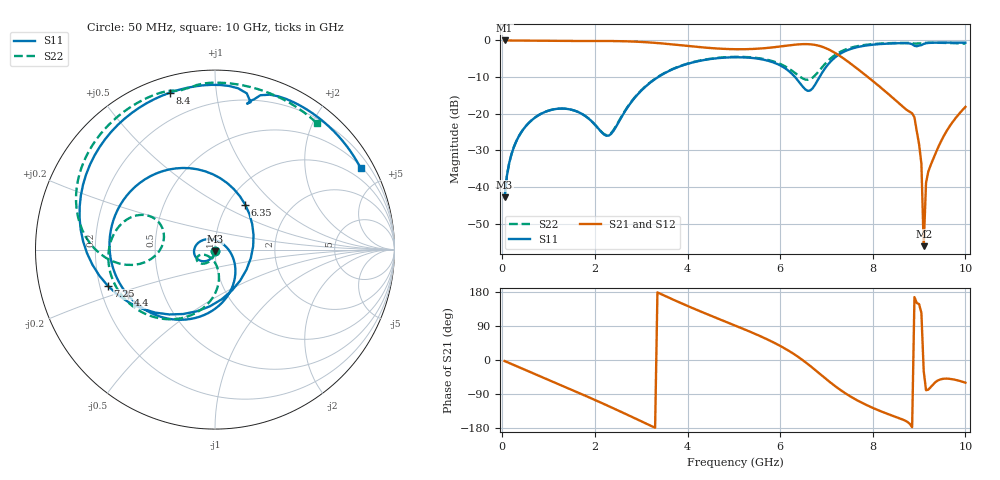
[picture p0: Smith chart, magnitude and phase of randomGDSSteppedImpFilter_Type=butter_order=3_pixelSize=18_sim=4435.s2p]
! freq	dB(S11)	phase(S11)	dB(S12)	phase(S12)
!  dB(S21)	phase(S21)	dB(S22)	phase(S22)
!S-par simulation data
#  GHz  S  DB  R 50
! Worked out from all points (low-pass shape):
!   200 points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, 50 MHz to 10 GHz, reference 50 ohm
!   highest |S21| = -0.01 dB at 50 MHz (marker M1); lowest = -56.1 dB at 9.1 GHz (marker M2)
!   |S21| within 3 dB of the highest: start of sweep to 7.131 GHz
!   lowest |S11| = -42.8 dB at 50 MHz (marker M3), VSWR 1.01, Z = 50 - j0.727 ohm
!   |S11| at or under -10 dB: start of sweep to 3.362 GHz; 6.322 GHz to 6.849 GHz (527 MHz wide, 8 % of centre)
!   |S22| runs from -42.7 to -0.6 dB; largest |S21 - S12| = 0
!   S11 on the Smith chart (normalised r, x): 50 MHz: 1.00, -0.01; 4.4 GHz: 0.31, -0.22; 6.35 GHz: 1.20, +0.66; 7.25 GHz: 0.23, -0.16; 8.4 GHz: 0.07, +0.75; 10 GHz: 0.56, +3.76
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0.05  -42.77 -91.4  -0.01 -2.7  -0.01 -2.7  -42.74 -90.5
0.2  -30.94 -101.8  -0.02 -10.6  -0.02 -10.6  -30.93 -99.0
0.55  -22.77 -123.4  -0.06 -29.0  -0.06 -29.0  -22.76 -115.5
1.75  -20.25 154.3  -0.15 -92.0  -0.15 -92.0  -20.26 -159.6
2.3  -25.93 53.2  -0.16 -121.9  -0.16 -121.9  -25.74 -117.9
3.4  -9.70 -89.3  -0.76 175.5  -0.76 175.5  -9.62 -101.1
4.4  -5.25 -152.2  -1.98 122.1  -1.98 122.1  -5.17 -144.0
5.05  -4.58 170.1  -2.40 89.8  -2.40 89.8  -4.47 -169.7
5.85  -5.98 115.8  -1.88 46.8  -1.88 46.8  -5.70 161.1
6.35  -10.40 56.2  -1.12 11.5  -1.12 11.5  -9.14 154.0
6.7  -13.06 -50.7  -1.12 -20.6  -1.12 -20.6  -10.15 -178.4
6.95  -7.96 -116.2  -1.92 -45.9  -1.92 -45.9  -6.66 -169.4
7.25  -4.01 -161.3  -3.90 -74.6  -3.90 -74.6  -3.45 179.5
7.7  -1.73 153.8  -8.03 -108.7  -8.03 -108.7  -1.48 156.0
8.35  -0.85 108.9  -14.75 -143.6  -14.75 -143.6  -0.74 126.4
8.4  -0.82 105.9  -15.30 -145.9  -15.30 -145.9  -0.72 124.3
8.9  -1.47 76.4  -20.97 165.9  -20.97 165.9  -0.84 103.2
9.05  -1.27 75.5  -33.61 124.4  -33.61 124.4  -0.79 98.4
9.1  -0.95 73.6  -56.08 -29.4  -56.08 -29.4  -0.70 96.5
9.15  -0.77 70.5  -38.83 -79.7  -38.83 -79.7  -0.65 94.2
9.2  -0.69 67.5  -35.69 -78.2  -35.69 -78.2  -0.63 91.8
10  -0.63 29.2  -18.11 -59.9  -18.11 -59.9  -0.87 51.2
